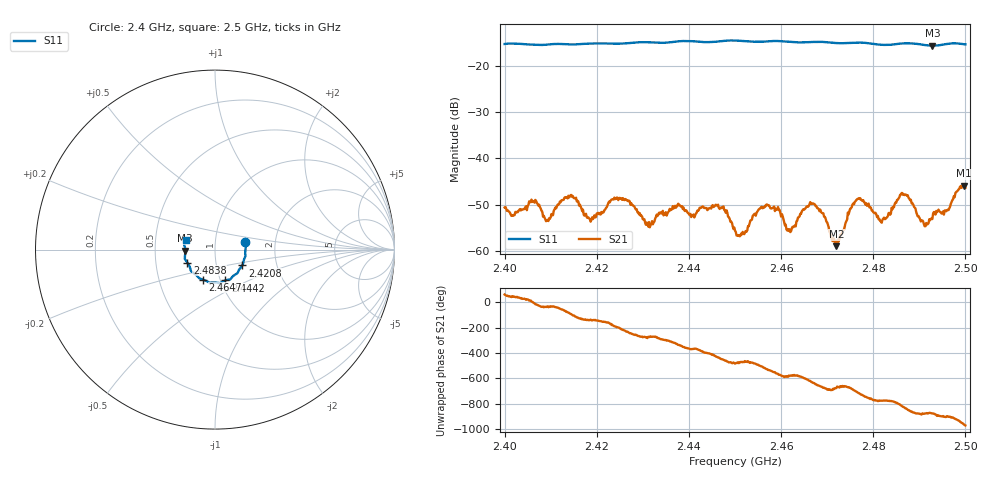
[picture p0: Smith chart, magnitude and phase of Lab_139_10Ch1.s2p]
# Hz S RI R 50
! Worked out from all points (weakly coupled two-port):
!   601 points, 2.4 GHz to 2.5 GHz, reference 50 ohm
!   highest |S21| = -45.93 dB at 2.4997 GHz (marker M1); lowest = -59.0 dB at 2.472 GHz (marker M2)
!   lowest |S11| = -15.6 dB at 2.4928 GHz (marker M3), VSWR 1.40, Z = 35.8 - j0.397 ohm
!   |S11| at or under -10 dB: start of sweep to end of sweep
!   S12 and S22 are empty: the file has one direction only
!   S11 on the Smith chart (normalised r, x): 2.4 GHz: 1.40, +0.12; 2.4208 GHz: 1.33, -0.24; 2.4442 GHz: 1.05, -0.37; 2.4647 GHz: 0.83, -0.29; 2.4838 GHz: 0.73, -0.11; 2.5 GHz: 0.72, +0.08
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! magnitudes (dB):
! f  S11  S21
! 2.4 GHz  -15.2  -50.6
! 2.4167 GHz  -15.3  -50.9
! 2.4208 GHz  -15.1  -52.2
! 2.4248 GHz  -15.2  -48.6
! 2.4312 GHz  -14.9  -54.8
! 2.4333 GHz  -15.0  -52.2
! 2.4442 GHz  -14.8  -51.1
! 2.4477 GHz  -14.6  -51.2
! 2.45 GHz  -14.5  -55.6
! 2.4568 GHz  -14.7  -50.0
! 2.4617 GHz  -14.8  -55.7
! 2.4647 GHz  -14.9  -51.2
! 2.4667 GHz  -14.8  -49.9
! 2.472 GHz  -15.1  -59.0
! 2.4767 GHz  -15.0  -48.8
! 2.4833 GHz  -15.4  -51.8
! 2.4838 GHz  -15.4  -51.9
! 2.4867 GHz  -15.1  -47.8
! 2.4908 GHz  -15.4  -53.7
! 2.4928 GHz  -15.6  -53.1
! 2.4997 GHz  -15.3  -45.9
! 2.5 GHz  -15.3  -46.4
